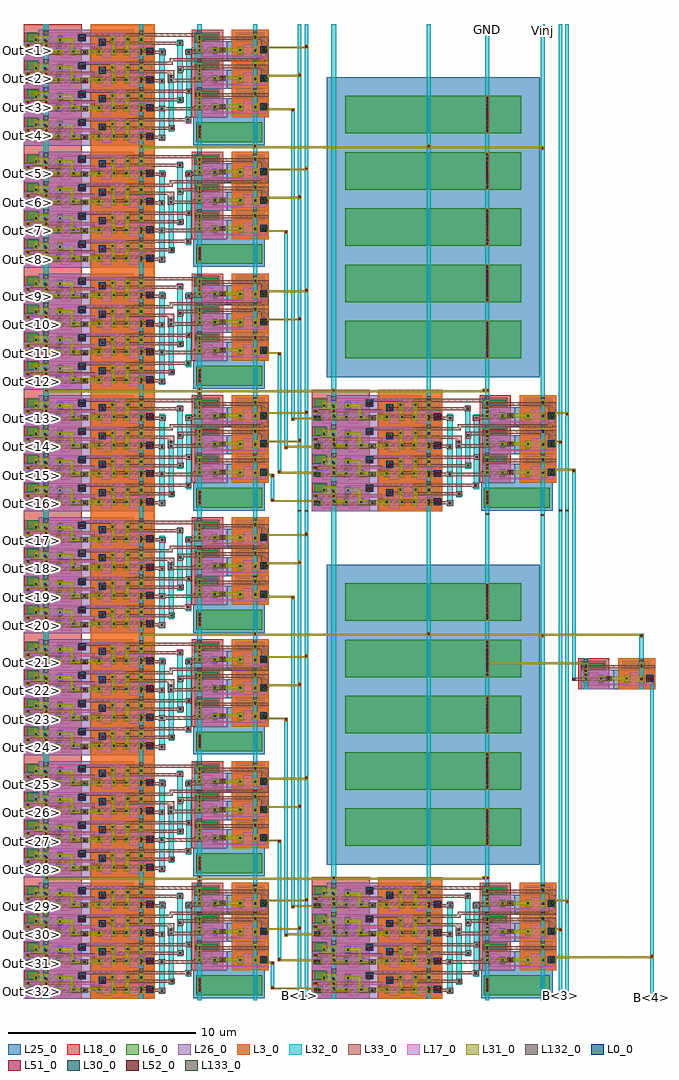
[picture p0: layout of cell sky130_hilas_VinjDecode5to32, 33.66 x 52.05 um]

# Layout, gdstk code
from math import pi, radians
import gdstk
lib = gdstk.Library(unit=1e-6, precision=1e-09)
def R(c, l, rs):  # rectangles x0, y0, x1, y1
    for r in rs: c.add(gdstk.rectangle(r[:2], r[2:], *l))
def A(c, l, x, y, w, h, nx, ny, dx, dy):  # array of equal rectangles
    R(c, l, [(x+i*dx, y+j*dy, x+i*dx+w, y+j*dy+h) for i in range(nx) for j in range(ny)])
L0_0 = (0, 0)
L3_0 = (3, 0)
L6_0 = (6, 0)
L17_0 = (17, 0)
L18_0 = (18, 0)
L25_0 = (25, 0)
L26_0 = (26, 0)
L30_0 = (30, 0)
L31_0 = (31, 0)
L32_0 = (32, 0)
L33_0 = (33, 0)
L51_0 = (51, 0)
L52_0 = (52, 0)
L132_0 = (132, 0)
L133_0 = (133, 0)

sky130_hilas_vinjnor3 = lib.new_cell('sky130_hilas_VinjNOR3')
R(sky130_hilas_vinjnor3, L0_0, [(-3.27,1.75,-2.9,2.12), (-0.74,2.24,-0.37,2.61), (0.32,2.48,0.69,2.85)])
R(sky130_hilas_vinjnor3, L3_0, [(-3.36,1.42,0.05,3.08)])
R(sky130_hilas_vinjnor3, L6_0, [(-2.79,1.73,-1.71,2.13), (-1.32,1.73,-0.26,2.13), (0.84,1.73,1.91,2.13), (2.27,1.73,3.34,2.13), (-2.06,2.35,-0.98,2.75), (1.53,2.35,2.61,2.75), (-3.2,2.44,-2.255,2.755), (2.84,2.47,3.445,2.91)])
R(sky130_hilas_vinjnor3, L17_0, [(-2.52,1.59,-2,2.18), (-1.05,1.59,-0.53,2.18), (1.13,1.59,1.63,2.18), (2.55,1.59,3.05,2.27), (-3.21,1.77,-2.95,2.18), (-3.21,2.18,-2,2.27), (-1.05,2.18,1.63,2.23), (2.55,2.18,3.46,2.3), (-1.78,2.21,-1.26,2.8), (1.84,2.21,2.34,2.8), (-1.05,2.23,1.63,2.25), (-1.05,2.25,1.63,2.3), (-0.74,2.3,-0.39,2.57), (0.33,2.51,0.68,2.8), (-1.78,2.8,2.34,2.84), (-1.78,2.84,2.34,2.89), (-1.78,2.89,2.34,2.92)])
R(sky130_hilas_vinjnor3, L18_0, [(-3.36,1.42,0.05,3.08), (0.52,1.42,3.61,3.08)])
R(sky130_hilas_vinjnor3, L25_0, [(-3.36,1.42,0.05,2.42), (-2.235,2.225,0.05,3.08), (2.81,2.45,3.61,2.93)])
R(sky130_hilas_vinjnor3, L26_0, [(0.05,1.42,3.61,2.45), (0.05,2.215,2.81,3.08), (-3.36,2.42,-2.235,2.93)])
R(sky130_hilas_vinjnor3, L30_0, [(-3.135,1.885,-3.045,1.975), (-2.715,1.885,-2.625,1.975), (-1.895,1.885,-1.805,1.975), (-1.245,1.885,-1.155,1.975), (-0.435,1.885,-0.345,1.975), (0.925,1.885,1.015,1.975), (1.725,1.885,1.815,1.975), (2.355,1.885,2.445,1.975), (3.145,1.885,3.235,1.975), (3.33,2.2,3.42,2.29), (-0.605,2.375,-0.515,2.465), (1.635,2.495,1.725,2.585), (2.435,2.495,2.525,2.585), (2.915,2.505,3.005,2.595), (-2.705,2.535,-2.615,2.625), (-1.975,2.535,-1.885,2.625), (-1.165,2.535,-1.075,2.625), (0.455,2.615,0.545,2.705)])
R(sky130_hilas_vinjnor3, L31_0, [(-2.75,1.73,-2.5,2.04), (-3.21,1.75,-2.985,2.11), (-2.01,1.76,-1.76,1.85), (-1.28,1.77,-1.07,1.85), (-0.56,1.81,1.15,2.02), (0.29,1.81,0.46,1.85), (3.085,1.81,3.52,2.02), (-2.01,1.85,-1.76,2.1), (-1.28,1.85,-1.07,2.1), (1.6,1.85,2.57,2.02), (0.98,2.02,1.15,2.46), (2.31,2.02,2.57,2.46), (-2.75,2.04,-2.5,2.1), (-2.01,2.1,-1.8,2.67), (-1.24,2.1,-1.07,2.42), (3.265,2.15,3.475,2.35), (-0.67,2.22,-0.47,2.32), (-0.67,2.32,-0.47,2.49), (2.31,2.35,3.05,2.77), (2.87,2.35,3.05,2.46), (-2.74,2.38,-2.55,2.48), (-1.24,2.42,-1.03,2.67), (0.98,2.46,1.85,2.63), (-2.74,2.48,-2.55,2.65), (-0.67,2.49,-0.47,2.59), (0.38,2.53,0.59,2.73), (2.31,2.64,2.57,2.71), (2.87,2.64,3.05,2.77), (-2.74,2.65,-2.55,2.79), (-2.01,2.67,-1.8,2.75), (-1.24,2.67,-1.03,2.75)])
R(sky130_hilas_vinjnor3, L32_0, [(-2.75,1.53,-2.53,1.73), (2.3,1.53,2.57,3.05), (-2.75,1.73,-2.5,2.04), (-3.305,1.75,-2.97,2.11), (0.19,1.75,0.58,2.02), (3.12,1.76,3.49,2.02), (-2.75,2.04,-2.53,2.44), (3.265,2.15,3.525,2.35), (-0.73,2.28,-0.4,2.54), (-2.75,2.44,-2.52,2.7), (0.32,2.5,0.75,2.79), (-2.75,2.7,-2.53,3.04)])
R(sky130_hilas_vinjnor3, L33_0, [(0.21,1.75,3.51,1.92), (-3.36,1.79,-2.96,1.95), (-2.96,1.89,0,2.05), (0.21,1.92,1.24,1.93), (3.12,1.92,3.51,2.02), (0.21,1.93,0.58,2.01), (-3.36,1.95,-2.96,2.05), (-0.16,2.05,0,2.34), (0,2.18,3.515,2.34), (-3.36,2.28,-0.4,2.44), (-1,2.44,-0.4,2.46), (-0.73,2.46,-0.4,2.54), (0.33,2.5,0.75,2.73), (-3.37,2.73,0.75,2.89)])
R(sky130_hilas_vinjnor3, L51_0, [(-2.68,1.76,-2.58,1.86), (-3.16,1.78,-3.06,1.88), (0.32,1.835,0.42,1.935), (3.155,1.87,3.255,1.97), (3.355,1.87,3.455,1.97), (2.38,1.955,2.48,2.055), (-2.68,1.96,-2.58,2.06), (-3.16,1.98,-3.06,2.08), (2.38,2.18,2.48,2.28), (3.315,2.2,3.415,2.3), (-0.64,2.345,-0.54,2.445), (2.38,2.425,2.48,2.525), (-2.69,2.505,-2.59,2.605), (0.41,2.565,0.51,2.665)])
R(sky130_hilas_vinjnor3, L52_0, [(0.335,1.83,0.435,1.93), (3.145,1.865,3.245,1.965), (3.345,1.865,3.445,1.965), (-3.29,1.87,-3.19,1.97), (-3.09,1.87,-2.99,1.97), (3.345,2.195,3.445,2.295), (-0.605,2.36,-0.505,2.46), (0.36,2.58,0.46,2.68), (0.56,2.58,0.66,2.68)])
R(sky130_hilas_vinjnor3, L132_0, [(-3.3,1.755,-2.975,2.105), (0.195,1.76,0.575,2.01), (-0.72,2.285,-0.405,2.53), (0.33,2.505,0.74,2.78), (2.315,2.79,2.56,3.025), (-2.74,2.815,-2.54,3.025)])
sky130_hilas_vinjnor3.add(gdstk.Label('VGND', (2.425,2.93), layer=132, texttype=0))
sky130_hilas_vinjnor3.add(gdstk.Label('Vinj', (-2.645,2.925), layer=132, texttype=0))
sky130_hilas_vinjnor3.add(gdstk.Label('OUT', (0.375,1.9), layer=132, texttype=0))
sky130_hilas_vinjnor3.add(gdstk.Label('IN2', (-0.565,2.455), layer=132, texttype=0))
sky130_hilas_vinjnor3.add(gdstk.Label('IN1', (0.53,2.715), layer=132, texttype=0))
sky130_hilas_vinjnor3.add(gdstk.Label('NENABLE', (-3.145,2.025), layer=132, texttype=0))

m2_m1_cdns_664928208109 = lib.new_cell('M2_M1_CDNS_664928208109')
R(m2_m1_cdns_664928208109, L31_0, [(-0.09,-0.29,0.09,0.29)])
R(m2_m1_cdns_664928208109, L32_0, [(-0.09,-0.29,0.09,0.29)])
A(m2_m1_cdns_664928208109, L51_0, -0.05, -0.25, 0.1, 0.1, 1, 3, 0, 0.2)

sky130_hilas_vinjinv2 = lib.new_cell('sky130_hilas_VinjInv2')
R(sky130_hilas_vinjinv2, L0_0, [(-3.27,1.82,-2.9,2.19)])
R(sky130_hilas_vinjinv2, L3_0, [(-3.36,1.44,-1.4,3.08)])
R(sky130_hilas_vinjinv2, L6_0, [(-2.79,1.77,-1.71,2.17), (-0.62,1.77,0.46,2.17), (-3.06,2.48,-1.725,2.845), (-0.645,2.54,0.54,2.825)])
R(sky130_hilas_vinjinv2, L17_0, [(-3.21,1.63,0.18,1.72), (-2.52,1.63,-2,2.31), (-0.34,1.63,0.18,2.31), (-3.21,1.72,-2.95,2.22)])
R(sky130_hilas_vinjinv2, L18_0, [(-3.36,1.44,-1.4,3.08), (-0.93,1.44,0.73,3.08)])
R(sky130_hilas_vinjinv2, L25_0, [(-3.36,1.44,-1.145,2.46), (-0.735,2.46,0.59,2.95)])
R(sky130_hilas_vinjinv2, L26_0, [(-1.145,1.44,0.59,2.46), (-3.165,2.46,-1.615,2.95)])
R(sky130_hilas_vinjinv2, L30_0, [(0.28,1.94,0.37,2.03), (-3.13,1.95,-3.04,2.04), (-2.71,1.95,-2.62,2.04), (-1.89,1.95,-1.8,2.04), (-0.53,1.95,-0.44,2.04), (-2.7,2.605,-2.61,2.695), (0.28,2.64,0.37,2.73)])
R(sky130_hilas_vinjinv2, L31_0, [(-3.19,1.82,-3,1.9), (-2.75,1.82,-2.5,1.84), (-2.01,1.83,-1.76,1.92), (-2.75,1.84,-2.5,2.11), (-3.19,1.9,-3,2.07), (0.16,1.91,0.49,2.08), (-2.01,1.92,-0.32,2.09), (-3.19,2.07,-3,2.18), (0.24,2.08,0.42,2.86), (-2.01,2.09,-1.76,2.17), (-2.75,2.11,-2.5,2.17), (-2.74,2.555,-2.55,2.655), (-2.74,2.655,-2.55,2.825), (-2.74,2.825,-2.55,2.965)])
R(sky130_hilas_vinjinv2, L32_0, [(-2.75,1.44,-2.53,1.53), (0.21,1.44,0.44,1.53), (-2.75,1.53,-2.53,1.8), (0.21,1.53,0.44,3.04), (-2.75,1.8,-2.5,2.11), (-3.28,1.83,-2.97,2.18), (-1.06,1.87,-0.74,2.13), (-2.75,2.11,-2.53,2.615), (-2.75,2.615,-2.52,2.875), (-2.75,2.875,-2.53,3.01), (-2.75,3.01,-2.53,3.08), (0.21,3.04,0.44,3.08)])
R(sky130_hilas_vinjinv2, L33_0, [(-3.29,1.86,-2.96,2.02), (-1.06,1.87,0.64,2.05), (-3.29,2.02,-2.96,2.12), (-1.06,2.05,-0.74,2.13), (-3.36,2.54,0.54,2.72)])
R(sky130_hilas_vinjinv2, L51_0, [(-3.16,1.85,-3.06,1.95), (-2.68,1.91,-2.58,2.01), (-0.95,1.96,-0.85,2.06), (-3.16,2.05,-3.06,2.15), (-2.69,2.66,-2.59,2.76)])
R(sky130_hilas_vinjinv2, L52_0, [(-3.28,1.94,-3.18,2.04), (-3.08,1.94,-2.98,2.04), (-0.95,1.96,-0.85,2.06)])
R(sky130_hilas_vinjinv2, L132_0, [(-3.27,1.835,-2.98,2.17), (-1.05,1.885,-0.75,2.12), (0.22,2.87,0.435,3.03), (-2.735,2.895,-2.54,2.995)])
sky130_hilas_vinjinv2.add(gdstk.Reference(m2_m1_cdns_664928208109, (0.33,2.41)))
sky130_hilas_vinjinv2.add(gdstk.Label('VGND', (0.32,2.96), layer=132, texttype=0))
sky130_hilas_vinjinv2.add(gdstk.Label('OUT', (-0.9,2.01), layer=132, texttype=0))
sky130_hilas_vinjinv2.add(gdstk.Label('IN', (-3.12,2.02), layer=132, texttype=0))
sky130_hilas_vinjinv2.add(gdstk.Label('Vinj', (-2.64,2.95), layer=132, texttype=0))

m2_m1_cdns_664928208106 = lib.new_cell('M2_M1_CDNS_664928208106')
R(m2_m1_cdns_664928208106, L31_0, [(-0.09,-0.39,0.09,0.39)])
R(m2_m1_cdns_664928208106, L32_0, [(-0.09,-0.39,0.09,0.39)])
A(m2_m1_cdns_664928208106, L51_0, -0.05, -0.35, 0.1, 0.1, 1, 4, 0, 0.2)

m1_od_cdns_664928208107 = lib.new_cell('M1_OD_CDNS_664928208107')
R(m1_od_cdns_664928208107, L6_0, [(-0.075,-0.35,0.075,0.35)])
A(m1_od_cdns_664928208107, L30_0, -0.045, -0.285, 0.09, 0.09, 1, 3, 0, 0.24)
R(m1_od_cdns_664928208107, L31_0, [(-0.09,-0.39,0.09,0.39)])

m3_m2_cdns_664928208108 = lib.new_cell('M3_M2_CDNS_664928208108')
R(m3_m2_cdns_664928208108, L32_0, [(-0.09,-0.19,0.09,0.19)])
R(m3_m2_cdns_664928208108, L33_0, [(-0.09,-0.19,0.09,0.19)])
R(m3_m2_cdns_664928208108, L52_0, [(-0.05,-0.15,0.05,-0.05), (-0.05,0.05,0.05,0.15)])

sky130_hilas_vinjdecode2 = lib.new_cell('sky130_hilas_VinjDecode2to4')
R(sky130_hilas_vinjdecode2, L3_0, [(6.69,0.13,6.91,0.18), (6.69,6.08,6.91,6.14), (6.08,6.19,9.49,6.5)])
R(sky130_hilas_vinjdecode2, L6_0, [(0.35,0.2,3.865,1.26)])
R(sky130_hilas_vinjdecode2, L18_0, [(6.08,6.19,9.49,6.5), (9.96,6.19,13.05,6.5)])
R(sky130_hilas_vinjdecode2, L25_0, [(0.195,0.04,4.01,1.53)])
R(sky130_hilas_vinjdecode2, L32_0, [(0.61,-0.055,0.83,1.565), (3.57,-0.055,3.8,0.385), (6.69,0,6.91,0.11), (11.74,0,12.01,0.11), (6.69,0.13,6.91,0.18), (5.54,0.27,5.83,1.81), (3.57,0.335,3.8,1.685), (5.06,0.76,5.34,0.79), (5.06,0.79,5.34,1.12), (5.06,1.12,5.34,3.33), (4.12,1.19,4.4,1.24), (4.12,1.24,4.4,1.57), (4.12,1.57,4.4,2.74), (5.54,1.81,5.83,2.16), (5.54,2.16,5.83,4.81), (4.57,2.27,4.87,2.29), (4.57,2.29,4.87,2.62), (4.59,2.62,4.87,3.93), (4.12,2.74,4.4,3.07), (4.12,3.07,4.4,5.19), (0.61,3.085,0.83,4.705), (5.06,3.33,5.34,3.66), (5.06,3.66,5.34,3.785), (4.54,3.93,4.87,4.2), (4.59,4.2,4.87,5.66), (3.63,4.39,3.96,4.42), (3.63,4.42,3.96,4.75), (3.63,4.75,3.96,5.53), (5.54,4.81,5.83,5.16), (5.54,5.16,5.83,5.21), (3.63,5.53,3.96,5.8), (3.63,5.8,3.96,6.09), (0.61,6.07,0.83,6.15), (6.69,6.08,6.91,6.14), (0.61,6.15,0.83,6.5), (3.57,6.15,3.8,6.5), (6.69,6.15,6.91,6.5), (11.74,6.16,12.01,6.5)])
A(sky130_hilas_vinjdecode2, L33_0, 12.82, 1.84, 0.13, 0.17, 1, 3, 0, 1.51)
R(sky130_hilas_vinjdecode2, L33_0, [(5.51,0.3,5.86,0.38), (12.82,0.34,12.95,0.51), (5.51,0.38,6.08,0.54), (5.51,0.54,5.86,0.59), (5.01,0.82,5.34,0.87), (5.01,0.87,6.08,1.03), (5.01,1.03,5.34,1.09), (4.13,1.27,4.46,1.32), (4.13,1.32,6.08,1.48), (4.13,1.48,4.46,1.54), (5.52,1.84,5.87,1.88), (5.52,1.88,6.08,1.89), (3.43,1.89,6.08,2.07), (0,1.95,0.07,1.99), (0,1.99,0.11,2.17), (3.43,2.04,6.01,2.07), (5.52,2.07,5.87,2.13), (0,2.17,0.07,2.21), (4.54,2.32,4.87,2.37), (4.54,2.37,6.08,2.53), (4.54,2.53,4.87,2.59), (4.09,2.77,4.42,2.82), (4.09,2.82,6.08,2.98), (4.09,2.98,4.42,3.04), (5.53,3.33,5.85,3.39), (5.04,3.36,5.37,3.4), (5.53,3.39,6.08,3.55), (3.43,3.4,5.37,3.58), (0,3.46,0.4,4.32), (5.53,3.55,5.85,3.59), (5.04,3.58,5.37,3.63), (5.04,3.63,5.37,3.88), (4.57,3.88,4.84,3.9), (5.04,3.88,6.08,4.04), (4.57,3.9,4.84,4.04), (4.57,4.04,4.84,4.07), (3.43,4.07,4.84,4.23), (3.43,4.23,4.84,4.25), (5.11,4.33,6.07,4.49), (5.11,4.49,5.27,4.5), (0,4.5,5.27,4.66), (0,4.66,0.4,5.65), (5.49,4.84,5.84,4.9), (4.1,4.85,4.45,4.9), (4.1,4.9,4.45,4.91), (5.49,4.9,6.08,5.06), (3.43,4.91,4.45,5.09), (5.49,5.06,5.84,5.13), (4.1,5.09,4.45,5.12), (4.56,5.34,4.89,5.39), (4.56,5.39,6.08,5.55), (3.66,5.5,3.96,5.58), (4.56,5.55,4.89,5.61), (3.43,5.58,3.96,5.76), (3.69,5.76,3.96,5.83), (3.685,5.83,6.075,5.99), (3.69,5.83,3.96,5.84), (3.685,5.99,6.08,6)])
R(sky130_hilas_vinjdecode2, L52_0, [(5.635,0.395,5.735,0.495), (5.125,0.905,5.225,1.005), (4.245,1.355,4.345,1.455), (5.645,1.935,5.745,2.035), (4.655,2.405,4.755,2.505), (4.205,2.855,4.305,2.955), (5.64,3.41,5.74,3.51), (5.155,3.445,5.255,3.545), (4.655,4.015,4.755,4.115), (4.215,4.935,4.315,5.035), (5.615,4.935,5.715,5.035), (4.675,5.425,4.775,5.525)])
R(sky130_hilas_vinjdecode2, L132_0, [(3.58,5.98,3.795,6.14), (0.625,6.005,0.82,6.105)])
R(sky130_hilas_vinjdecode2, L133_0, [(12.59,0.345,12.93,0.58), (12.585,1.875,12.94,2.085), (0.085,1.96,0.38,2.19), (12.585,3.37,12.93,3.6), (0.09,3.47,0.395,3.705), (12.58,4.87,12.935,5.115), (0.08,4.98,0.395,5.225)])
sky130_hilas_vinjdecode2.add(gdstk.Reference(sky130_hilas_vinjnor3, (9.44,-1.42)))
sky130_hilas_vinjdecode2.add(gdstk.Reference(sky130_hilas_vinjnor3, (9.44,3.11)))
sky130_hilas_vinjdecode2.add(gdstk.Reference(sky130_hilas_vinjnor3, (9.44,0.09)))
sky130_hilas_vinjdecode2.add(gdstk.Reference(sky130_hilas_vinjnor3, (9.44,1.6)))
sky130_hilas_vinjdecode2.add(gdstk.Reference(sky130_hilas_vinjinv2, (3.36,0.09)))
sky130_hilas_vinjdecode2.add(gdstk.Reference(sky130_hilas_vinjinv2, (3.36,1.6)))
sky130_hilas_vinjdecode2.add(gdstk.Reference(sky130_hilas_vinjinv2, (3.36,3.11)))
sky130_hilas_vinjdecode2.add(gdstk.Reference(m2_m1_cdns_664928208106, (3.68,0.745)))
sky130_hilas_vinjdecode2.add(gdstk.Reference(m1_od_cdns_664928208107, (3.68,0.745)))
sky130_hilas_vinjdecode2.add(gdstk.Reference(m3_m2_cdns_664928208108, (5.205,3.595)))
sky130_hilas_vinjdecode2.add(gdstk.Label('VGND', (3.68,6.07), layer=132, texttype=0))
sky130_hilas_vinjdecode2.add(gdstk.Label('Vinj', (0.72,6.06), layer=132, texttype=0))
sky130_hilas_vinjdecode2.add(gdstk.Label('OUT11', (12.75,0.465), layer=133, texttype=0))
sky130_hilas_vinjdecode2.add(gdstk.Label('OUT10', (12.795,1.98), layer=133, texttype=0))
sky130_hilas_vinjdecode2.add(gdstk.Label('OUT01', (12.77,3.475), layer=133, texttype=0))
sky130_hilas_vinjdecode2.add(gdstk.Label('OUT00', (12.775,4.985), layer=133, texttype=0))
sky130_hilas_vinjdecode2.add(gdstk.Label('IN1', (0.195,5.125), layer=133, texttype=0))
sky130_hilas_vinjdecode2.add(gdstk.Label('ENABLE', (0.28,2.1), layer=133, texttype=0))
sky130_hilas_vinjdecode2.add(gdstk.Label('IN2', (0.235,3.595), layer=133, texttype=0))

m2_m1_cdns_664928208101 = lib.new_cell('M2_M1_CDNS_664928208101')
R(m2_m1_cdns_664928208101, L31_0, [(-0.09,-0.09,0.09,0.09)])
R(m2_m1_cdns_664928208101, L32_0, [(-0.09,-0.09,0.09,0.09)])
R(m2_m1_cdns_664928208101, L51_0, [(-0.05,-0.05,0.05,0.05)])

m1_od_cdns_664928208102 = lib.new_cell('M1_OD_CDNS_664928208102')
R(m1_od_cdns_664928208102, L6_0, [(-0.075,-0.95,0.075,0.95)])
A(m1_od_cdns_664928208102, L30_0, -0.045, -0.885, 0.09, 0.09, 1, 9, 0, 0.21)
R(m1_od_cdns_664928208102, L31_0, [(-0.09,-0.99,0.09,0.99)])

m2_m1_cdns_664928208103 = lib.new_cell('M2_M1_CDNS_664928208103')
R(m2_m1_cdns_664928208103, L31_0, [(-0.09,-0.99,0.09,0.99)])
R(m2_m1_cdns_664928208103, L32_0, [(-0.09,-0.99,0.09,0.99)])
A(m2_m1_cdns_664928208103, L51_0, -0.05, -0.95, 0.1, 0.1, 1, 10, 0, 0.2)

m2_m1_cdns_664928208104 = lib.new_cell('M2_M1_CDNS_664928208104')
R(m2_m1_cdns_664928208104, L31_0, [(-0.19,-0.09,0.19,0.09)])
R(m2_m1_cdns_664928208104, L32_0, [(-0.19,-0.09,0.19,0.09)])
R(m2_m1_cdns_664928208104, L51_0, [(-0.15,-0.05,-0.05,0.05), (0.05,-0.05,0.15,0.05)])

m2_m1_cdns_664928208105 = lib.new_cell('M2_M1_CDNS_664928208105')
R(m2_m1_cdns_664928208105, L31_0, [(-0.09,-0.19,0.09,0.19)])
R(m2_m1_cdns_664928208105, L32_0, [(-0.09,-0.19,0.09,0.19)])
R(m2_m1_cdns_664928208105, L51_0, [(-0.05,-0.15,0.05,-0.05), (-0.05,0.05,0.05,0.15)])

sky130_hilas_vinjdecode4 = lib.new_cell('sky130_hilas_VinjDecode4to16')
A(sky130_hilas_vinjdecode4, L6_0, 2.54, 8.17, 9.37, 2, 1, 5, 0, 3)
R(sky130_hilas_vinjdecode4, L25_0, [(1.54,7.17,12.91,23.17)])
R(sky130_hilas_vinjdecode4, L31_0, [(27.665,6.365,27.75,6.455), (22.575,19.38,22.7,19.47)])
R(sky130_hilas_vinjdecode4, L32_0, [(1.27,6.15,1.49,26), (7.35,6.15,7.57,26), (12.4,6.16,12.67,26)])
R(sky130_hilas_vinjdecode4, L132_0, [(0,0,0.18,0.08), (0.36,0,0.54,0.08), (13.91,0,14.09,0.065), (14.27,0,14.45,0.055), (0.75,2.235,0.8,2.26), (1.27,25.78,1.49,25.855), (4.23,25.835,4.46,25.915)])
A(sky130_hilas_vinjdecode4, L133_0, 28.83, 0.545, 0.055, 0.025, 1, 4, 0, 1.515)
A(sky130_hilas_vinjdecode4, L133_0, 28.775, 7.045, 0.105, 0.025, 1, 4, 0, 1.515)
A(sky130_hilas_vinjdecode4, L133_0, 28.795, 13.54, 0.075, 0.03, 1, 4, 0, 1.515)
A(sky130_hilas_vinjdecode4, L133_0, 28.8, 20.045, 0.095, 0.02, 1, 4, 0, 1.515)
sky130_hilas_vinjdecode4.add(gdstk.FlexPath([(4.345,6.15),(4.345,26)], 0.23, ends="flush", simple_path=True, layer=32, datatype=0))  # L32_0
sky130_hilas_vinjdecode4.add(gdstk.FlexPath([(0.09,0),(0.09,26)], 0.18, ends="flush", simple_path=True, layer=32, datatype=0))  # L32_0
sky130_hilas_vinjdecode4.add(gdstk.FlexPath([(0.45,0),(0.45,26)], 0.18, ends="flush", simple_path=True, layer=32, datatype=0))  # L32_0
sky130_hilas_vinjdecode4.add(gdstk.FlexPath([(14.72,4.83),(14.72,21.325)], 0.18, ends="flush", simple_path=True, layer=32, datatype=0))  # L32_0
sky130_hilas_vinjdecode4.add(gdstk.FlexPath([(14,0),(14,26)], 0.18, ends="flush", simple_path=True, layer=32, datatype=0))  # L32_0
sky130_hilas_vinjdecode4.add(gdstk.FlexPath([(14.36,0),(14.36,26)], 0.18, ends="flush", simple_path=True, layer=32, datatype=0))  # L32_0
sky130_hilas_vinjdecode4.add(gdstk.FlexPath([(15.08,3.41),(15.08,14.885)], 0.18, ends="flush", simple_path=True, layer=32, datatype=0))  # L32_0
sky130_hilas_vinjdecode4.add(gdstk.FlexPath([(15.8,0.51),(15.8,2)], 0.18, ends="flush", simple_path=True, layer=32, datatype=0))  # L32_0
sky130_hilas_vinjdecode4.add(gdstk.FlexPath([(15.44,2.02),(15.44,8.5)], 0.18, ends="flush", simple_path=True, layer=32, datatype=0))  # L32_0
sky130_hilas_vinjdecode4.add(gdstk.FlexPath([(27.665,6.41),(4.285,6.41)], 0.09, ends="flush", simple_path=True, layer=31, datatype=0))  # L31_0
sky130_hilas_vinjdecode4.add(gdstk.FlexPath([(22.575,19.425),(1.34,19.425)], 0.09, ends="flush", simple_path=True, layer=31, datatype=0))  # L31_0
sky130_hilas_vinjdecode4.add(gdstk.FlexPath([(0.83,5.245),(0.085,5.245)], 0.09, ends="flush", simple_path=True, layer=31, datatype=0))  # L31_0
sky130_hilas_vinjdecode4.add(gdstk.FlexPath([(0.83,3.735),(0.44,3.735)], 0.09, ends="flush", simple_path=True, layer=31, datatype=0))  # L31_0
sky130_hilas_vinjdecode4.add(gdstk.FlexPath([(16.18,24.745),(13.97,24.745)], 0.09, ends="flush", simple_path=True, layer=31, datatype=0))  # L31_0
sky130_hilas_vinjdecode4.add(gdstk.FlexPath([(16.18,18.245),(13.95,18.245)], 0.09, ends="flush", simple_path=True, layer=31, datatype=0))  # L31_0
sky130_hilas_vinjdecode4.add(gdstk.FlexPath([(16.18,16.735),(14.345,16.735)], 0.09, ends="flush", simple_path=True, layer=31, datatype=0))  # L31_0
sky130_hilas_vinjdecode4.add(gdstk.FlexPath([(16.18,23.235),(14.405,23.235)], 0.09, ends="flush", simple_path=True, layer=31, datatype=0))  # L31_0
sky130_hilas_vinjdecode4.add(gdstk.FlexPath([(16.18,11.745),(13.97,11.745)], 0.09, ends="flush", simple_path=True, layer=31, datatype=0))  # L31_0
sky130_hilas_vinjdecode4.add(gdstk.FlexPath([(16.18,10.235),(14.37,10.235)], 0.09, ends="flush", simple_path=True, layer=31, datatype=0))  # L31_0
sky130_hilas_vinjdecode4.add(gdstk.FlexPath([(16.18,5.245),(13.975,5.245)], 0.09, ends="flush", simple_path=True, layer=31, datatype=0))  # L31_0
sky130_hilas_vinjdecode4.add(gdstk.FlexPath([(16.18,3.735),(14.345,3.735)], 0.09, ends="flush", simple_path=True, layer=31, datatype=0))  # L31_0
sky130_hilas_vinjdecode4.add(gdstk.FlexPath([(16.2,21.455),(14.67,21.455)], 0.09, ends="flush", simple_path=True, layer=31, datatype=0))  # L31_0
sky130_hilas_vinjdecode4.add(gdstk.FlexPath([(16.18,14.955),(15.055,14.955)], 0.09, ends="flush", simple_path=True, layer=31, datatype=0))  # L31_0
sky130_hilas_vinjdecode4.add(gdstk.FlexPath([(16.185,8.455),(15.35,8.455)], 0.09, ends="flush", simple_path=True, layer=31, datatype=0))  # L31_0
sky130_hilas_vinjdecode4.add(gdstk.FlexPath([(13.56,4.965),(14.75,4.965)], 0.09, ends="flush", simple_path=True, layer=31, datatype=0))  # L31_0
sky130_hilas_vinjdecode4.add(gdstk.FlexPath([(13.595,3.455),(15.105,3.455)], 0.09, ends="flush", simple_path=True, layer=31, datatype=0))  # L31_0
sky130_hilas_vinjdecode4.add(gdstk.FlexPath([(13.59,2.065),(15.465,2.065)], 0.09, ends="flush", simple_path=True, layer=31, datatype=0))  # L31_0
sky130_hilas_vinjdecode4.add(gdstk.FlexPath([(16.185,1.955),(15.735,1.955)], 0.09, ends="flush", simple_path=True, layer=31, datatype=0))  # L31_0
sky130_hilas_vinjdecode4.add(gdstk.FlexPath([(13.62,0.555),(15.875,0.555)], 0.09, ends="flush", simple_path=True, layer=31, datatype=0))  # L31_0
r = gdstk.Reference(sky130_hilas_vinjdecode2, (16.01,0)); r.repetition = gdstk.Repetition(1, 4, v1=(13.119,0), v2=(0,6.5)); sky130_hilas_vinjdecode4.add(r)
sky130_hilas_vinjdecode4.add(gdstk.Reference(sky130_hilas_vinjdecode2, (0.66,0)))
sky130_hilas_vinjdecode4.add(gdstk.Reference(m2_m1_cdns_664928208101, (22.79,19.47)))
sky130_hilas_vinjdecode4.add(gdstk.Reference(m2_m1_cdns_664928208101, (16.735,19.47)))
sky130_hilas_vinjdecode4.add(gdstk.Reference(m2_m1_cdns_664928208101, (7.46,19.47)))
sky130_hilas_vinjdecode4.add(gdstk.Reference(m2_m1_cdns_664928208101, (1.4,19.38)))
sky130_hilas_vinjdecode4.add(gdstk.Reference(m2_m1_cdns_664928208101, (27.84,6.455)))
sky130_hilas_vinjdecode4.add(gdstk.Reference(m2_m1_cdns_664928208101, (12.53,6.455)))
sky130_hilas_vinjdecode4.add(gdstk.Reference(m2_m1_cdns_664928208101, (0.09,5.2)))
sky130_hilas_vinjdecode4.add(gdstk.Reference(m2_m1_cdns_664928208101, (0.45,3.69)))
sky130_hilas_vinjdecode4.add(gdstk.Reference(m2_m1_cdns_664928208101, (14,24.79)))
sky130_hilas_vinjdecode4.add(gdstk.Reference(m2_m1_cdns_664928208101, (14.36,23.28)))
sky130_hilas_vinjdecode4.add(gdstk.Reference(m2_m1_cdns_664928208101, (14,18.29)))
sky130_hilas_vinjdecode4.add(gdstk.Reference(m2_m1_cdns_664928208101, (14.36,16.78)))
sky130_hilas_vinjdecode4.add(gdstk.Reference(m2_m1_cdns_664928208101, (14,11.79)))
sky130_hilas_vinjdecode4.add(gdstk.Reference(m2_m1_cdns_664928208101, (14.36,10.28)))
sky130_hilas_vinjdecode4.add(gdstk.Reference(m2_m1_cdns_664928208101, (14,5.29)))
sky130_hilas_vinjdecode4.add(gdstk.Reference(m2_m1_cdns_664928208101, (14.36,3.78)))
sky130_hilas_vinjdecode4.add(gdstk.Reference(m2_m1_cdns_664928208101, (14.72,21.41)))
sky130_hilas_vinjdecode4.add(gdstk.Reference(m2_m1_cdns_664928208101, (15.08,14.91)))
sky130_hilas_vinjdecode4.add(gdstk.Reference(m2_m1_cdns_664928208101, (15.44,8.41)))
sky130_hilas_vinjdecode4.add(gdstk.Reference(m2_m1_cdns_664928208101, (14.72,4.92)))
sky130_hilas_vinjdecode4.add(gdstk.Reference(m2_m1_cdns_664928208101, (15.08,3.41)))
sky130_hilas_vinjdecode4.add(gdstk.Reference(m2_m1_cdns_664928208101, (15.44,2.11)))
sky130_hilas_vinjdecode4.add(gdstk.Reference(m2_m1_cdns_664928208101, (15.8,1.91)))
sky130_hilas_vinjdecode4.add(gdstk.Reference(m2_m1_cdns_664928208101, (15.8,0.6)))
sky130_hilas_vinjdecode4.add(gdstk.Reference(m1_od_cdns_664928208102, (4.34,21.17)))
sky130_hilas_vinjdecode4.add(gdstk.Reference(m1_od_cdns_664928208102, (4.345,18.165)))
sky130_hilas_vinjdecode4.add(gdstk.Reference(m1_od_cdns_664928208102, (4.34,15.165)))
sky130_hilas_vinjdecode4.add(gdstk.Reference(m1_od_cdns_664928208102, (4.34,9.17)))
sky130_hilas_vinjdecode4.add(gdstk.Reference(m1_od_cdns_664928208102, (4.345,12.17)))
sky130_hilas_vinjdecode4.add(gdstk.Reference(m2_m1_cdns_664928208103, (4.34,21.17)))
sky130_hilas_vinjdecode4.add(gdstk.Reference(m2_m1_cdns_664928208103, (4.345,18.165)))
sky130_hilas_vinjdecode4.add(gdstk.Reference(m2_m1_cdns_664928208103, (4.34,15.165)))
sky130_hilas_vinjdecode4.add(gdstk.Reference(m2_m1_cdns_664928208103, (4.34,9.17)))
sky130_hilas_vinjdecode4.add(gdstk.Reference(m2_m1_cdns_664928208103, (4.345,12.17)))
sky130_hilas_vinjdecode4.add(gdstk.Reference(m2_m1_cdns_664928208104, (4.42,6.455)))
sky130_hilas_vinjdecode4.add(gdstk.Reference(m2_m1_cdns_664928208105, (19.695,6.41)))
sky130_hilas_vinjdecode4.add(gdstk.Label('Enable', (0.775,2.25), layer=132, texttype=0))
sky130_hilas_vinjdecode4.add(gdstk.Label('B<1>', (14.365,0.055), layer=132, texttype=0))
sky130_hilas_vinjdecode4.add(gdstk.Label('B<0>', (14,0.06), layer=132, texttype=0))
sky130_hilas_vinjdecode4.add(gdstk.Label('B<3>', (0.455,0.06), layer=132, texttype=0))
sky130_hilas_vinjdecode4.add(gdstk.Label('Vinj', (1.37,25.815), layer=132, texttype=0))
sky130_hilas_vinjdecode4.add(gdstk.Label('GND', (4.345,25.865), layer=132, texttype=0))
sky130_hilas_vinjdecode4.add(gdstk.Label('B<2>', (0.1,0.055), layer=132, texttype=0))
sky130_hilas_vinjdecode4.add(gdstk.Label('Out<16>', (28.855,0.56), layer=133, texttype=0))
sky130_hilas_vinjdecode4.add(gdstk.Label('Out<15>', (28.855,2.075), layer=133, texttype=0))
sky130_hilas_vinjdecode4.add(gdstk.Label('Out<14>', (28.855,3.59), layer=133, texttype=0))
sky130_hilas_vinjdecode4.add(gdstk.Label('Out<13>', (28.855,5.105), layer=133, texttype=0))
sky130_hilas_vinjdecode4.add(gdstk.Label('Out<12>', (28.83,7.06), layer=133, texttype=0))
sky130_hilas_vinjdecode4.add(gdstk.Label('Out<11>', (28.83,8.575), layer=133, texttype=0))
sky130_hilas_vinjdecode4.add(gdstk.Label('Out<10>', (28.83,10.09), layer=133, texttype=0))
sky130_hilas_vinjdecode4.add(gdstk.Label('Out<9>', (28.83,11.605), layer=133, texttype=0))
sky130_hilas_vinjdecode4.add(gdstk.Label('Out<8>', (28.825,13.55), layer=133, texttype=0))
sky130_hilas_vinjdecode4.add(gdstk.Label('Out<7>', (28.825,15.065), layer=133, texttype=0))
sky130_hilas_vinjdecode4.add(gdstk.Label('Out<6>', (28.825,16.58), layer=133, texttype=0))
sky130_hilas_vinjdecode4.add(gdstk.Label('Out<5>', (28.825,18.095), layer=133, texttype=0))
sky130_hilas_vinjdecode4.add(gdstk.Label('Out<4>', (28.855,20.06), layer=133, texttype=0))
sky130_hilas_vinjdecode4.add(gdstk.Label('Out<3>', (28.855,21.575), layer=133, texttype=0))
sky130_hilas_vinjdecode4.add(gdstk.Label('Out<1>', (28.855,24.605), layer=133, texttype=0))
sky130_hilas_vinjdecode4.add(gdstk.Label('Out<2>', (28.855,23.09), layer=133, texttype=0))

m3_m2_cdns_664928208100 = lib.new_cell('M3_M2_CDNS_664928208100')
R(m3_m2_cdns_664928208100, L32_0, [(-0.09,-0.09,0.09,0.09)])
R(m3_m2_cdns_664928208100, L33_0, [(-0.09,-0.09,0.09,0.09)])
R(m3_m2_cdns_664928208100, L52_0, [(-0.05,-0.05,0.05,0.05)])

sky130_hilas_vinjdecode5 = lib.new_cell('sky130_hilas_VinjDecode5to32')
R(sky130_hilas_vinjdecode5, L33_0, [(29.545,16.96,29.785,17.14)])
R(sky130_hilas_vinjdecode5, L132_0, [(33.525,0.03,33.705,0.09), (14.735,0.12,14.915,0.175), (15.095,0.13,15.275,0.175), (28.645,0.135,28.825,0.19), (29.005,0.165,29.185,0.19), (27.695,51.605,27.915,51.695), (24.725,51.635,24.955,51.72)])
A(sky130_hilas_vinjdecode5, L133_0, 0.305, 0.37, 0.1, 0.035, 1, 4, 0, 1.515)
A(sky130_hilas_vinjdecode5, L133_0, 0.295, 6.885, 0.1, 0.03, 1, 4, 0, 1.515)
A(sky130_hilas_vinjdecode5, L133_0, 0.285, 13.4, 0.11, 0.03, 1, 4, 0, 1.515)
A(sky130_hilas_vinjdecode5, L133_0, 0.285, 19.91, 0.11, 0.055, 1, 4, 0, 1.515)
A(sky130_hilas_vinjdecode5, L133_0, 0.29, 26.42, 0.115, 0.045, 1, 4, 0, 1.515)
A(sky130_hilas_vinjdecode5, L133_0, 0.275, 32.92, 0.065, 0.035, 1, 4, 0, 1.515)
A(sky130_hilas_vinjdecode5, L133_0, 0.265, 39.45, 0.08, 0.03, 1, 4, 0, 1.515)
A(sky130_hilas_vinjdecode5, L133_0, 0.26, 46.04, 0.04, 0.025, 1, 4, 0, 1.515)
sky130_hilas_vinjdecode5.add(gdstk.FlexPath([(33.065,18.1),(33.065,19.47)], 0.22, ends="flush", simple_path=True, layer=32, datatype=0))  # L32_0
sky130_hilas_vinjdecode5.add(gdstk.FlexPath([(29.455,16.96),(29.455,28.265)], 0.18, ends="flush", simple_path=True, layer=32, datatype=0))  # L32_0
sky130_hilas_vinjdecode5.add(gdstk.FlexPath([(33.615,0),(33.615,17.02)], 0.18, ends="flush", simple_path=True, layer=32, datatype=0))  # L32_0
sky130_hilas_vinjdecode5.add(gdstk.FlexPath([(27.875,19.425),(33.075,19.425)], 0.09, ends="flush", simple_path=True, layer=31, datatype=0))  # L31_0
sky130_hilas_vinjdecode5.add(gdstk.FlexPath([(30.05,17.905),(24.845,17.905)], 0.09, ends="flush", simple_path=True, layer=31, datatype=0))  # L31_0
sky130_hilas_vinjdecode5.add(gdstk.FlexPath([(28.355,28.225),(29.48,28.225)], 0.09, ends="flush", simple_path=True, layer=31, datatype=0))  # L31_0
sky130_hilas_vinjdecode5.add(gdstk.FlexPath([(28.355,2.225),(33.705,2.225)], 0.09, ends="flush", simple_path=True, layer=31, datatype=0))  # L31_0
r = gdstk.Reference(sky130_hilas_vinjdecode4, (29.185,0), rotation=pi, x_reflection=True); r.repetition = gdstk.Repetition(1, 2, v1=(-29.06,0), v2=(0,26)); sky130_hilas_vinjdecode5.add(r)
sky130_hilas_vinjdecode5.add(gdstk.Reference(sky130_hilas_vinjinv2, (30.425,15.09), rotation=pi, x_reflection=True))
sky130_hilas_vinjdecode5.add(gdstk.Reference(m3_m2_cdns_664928208100, (29.455,17.05), rotation=pi, x_reflection=True))
sky130_hilas_vinjdecode5.add(gdstk.Reference(m2_m1_cdns_664928208101, (33.045,19.38), rotation=pi, x_reflection=True))
sky130_hilas_vinjdecode5.add(gdstk.Reference(m2_m1_cdns_664928208101, (29.455,28.18), rotation=pi, x_reflection=True))
sky130_hilas_vinjdecode5.add(gdstk.Reference(m2_m1_cdns_664928208101, (33.615,2.27), rotation=pi, x_reflection=True))
sky130_hilas_vinjdecode5.add(gdstk.Label('Out<32>', (0.325,0.39), layer=133, texttype=0))
sky130_hilas_vinjdecode5.add(gdstk.Label('Out<31>', (0.325,1.905), layer=133, texttype=0))
sky130_hilas_vinjdecode5.add(gdstk.Label('Out<30>', (0.325,3.42), layer=133, texttype=0))
sky130_hilas_vinjdecode5.add(gdstk.Label('Out<29>', (0.325,4.935), layer=133, texttype=0))
sky130_hilas_vinjdecode5.add(gdstk.Label('Out<28>', (0.33,6.9), layer=133, texttype=0))
sky130_hilas_vinjdecode5.add(gdstk.Label('Out<27>', (0.33,8.415), layer=133, texttype=0))
sky130_hilas_vinjdecode5.add(gdstk.Label('Out<26>', (0.33,9.93), layer=133, texttype=0))
sky130_hilas_vinjdecode5.add(gdstk.Label('Out<25>', (0.33,11.445), layer=133, texttype=0))
sky130_hilas_vinjdecode5.add(gdstk.Label('Out<24>', (0.33,13.415), layer=133, texttype=0))
sky130_hilas_vinjdecode5.add(gdstk.Label('Out<23>', (0.33,14.93), layer=133, texttype=0))
sky130_hilas_vinjdecode5.add(gdstk.Label('Out<22>', (0.33,16.445), layer=133, texttype=0))
sky130_hilas_vinjdecode5.add(gdstk.Label('Out<21>', (0.33,17.96), layer=133, texttype=0))
sky130_hilas_vinjdecode5.add(gdstk.Label('Out<20>', (0.305,19.92), layer=133, texttype=0))
sky130_hilas_vinjdecode5.add(gdstk.Label('Out<19>', (0.305,21.435), layer=133, texttype=0))
sky130_hilas_vinjdecode5.add(gdstk.Label('Out<18>', (0.305,22.95), layer=133, texttype=0))
sky130_hilas_vinjdecode5.add(gdstk.Label('Out<17>', (0.305,24.465), layer=133, texttype=0))
sky130_hilas_vinjdecode5.add(gdstk.Label('Out<16>', (0.335,26.43), layer=133, texttype=0))
sky130_hilas_vinjdecode5.add(gdstk.Label('Out<15>', (0.335,27.945), layer=133, texttype=0))
sky130_hilas_vinjdecode5.add(gdstk.Label('Out<14>', (0.335,29.46), layer=133, texttype=0))
sky130_hilas_vinjdecode5.add(gdstk.Label('Out<13>', (0.335,30.975), layer=133, texttype=0))
sky130_hilas_vinjdecode5.add(gdstk.Label('Out<12>', (0.29,32.93), layer=133, texttype=0))
sky130_hilas_vinjdecode5.add(gdstk.Label('Out<11>', (0.29,34.445), layer=133, texttype=0))
sky130_hilas_vinjdecode5.add(gdstk.Label('Out<10>', (0.29,35.96), layer=133, texttype=0))
sky130_hilas_vinjdecode5.add(gdstk.Label('Out<9>', (0.29,37.475), layer=133, texttype=0))
sky130_hilas_vinjdecode5.add(gdstk.Label('Out<8>', (0.29,39.46), layer=133, texttype=0))
sky130_hilas_vinjdecode5.add(gdstk.Label('Out<7>', (0.29,40.975), layer=133, texttype=0))
sky130_hilas_vinjdecode5.add(gdstk.Label('Out<6>', (0.29,42.49), layer=133, texttype=0))
sky130_hilas_vinjdecode5.add(gdstk.Label('Out<5>', (0.29,44.005), layer=133, texttype=0))
sky130_hilas_vinjdecode5.add(gdstk.Label('Out<4>', (0.275,46.05), layer=133, texttype=0))
sky130_hilas_vinjdecode5.add(gdstk.Label('Out<3>', (0.275,47.565), layer=133, texttype=0))
sky130_hilas_vinjdecode5.add(gdstk.Label('Out<2>', (0.275,49.08), layer=133, texttype=0))
sky130_hilas_vinjdecode5.add(gdstk.Label('Out<1>', (0.275,50.595), layer=133, texttype=0))
sky130_hilas_vinjdecode5.add(gdstk.Label('GND', (24.84,51.68), layer=132, texttype=0))
sky130_hilas_vinjdecode5.add(gdstk.Label('Vinj', (27.8,51.64), layer=132, texttype=0))
sky130_hilas_vinjdecode5.add(gdstk.Label('B<4>', (33.61,0.08), layer=132, texttype=0))
sky130_hilas_vinjdecode5.add(gdstk.Label('B<3>', (28.725,0.17), layer=132, texttype=0))
sky130_hilas_vinjdecode5.add(gdstk.Label('B<2>', (29.09,0.18), layer=132, texttype=0))
sky130_hilas_vinjdecode5.add(gdstk.Label('B<1>', (14.81,0.165), layer=132, texttype=0))
sky130_hilas_vinjdecode5.add(gdstk.Label('B<0>', (15.18,0.16), layer=132, texttype=0))

lib.write_gds('sky130_hilas_VinjDecode5to32.gds')
